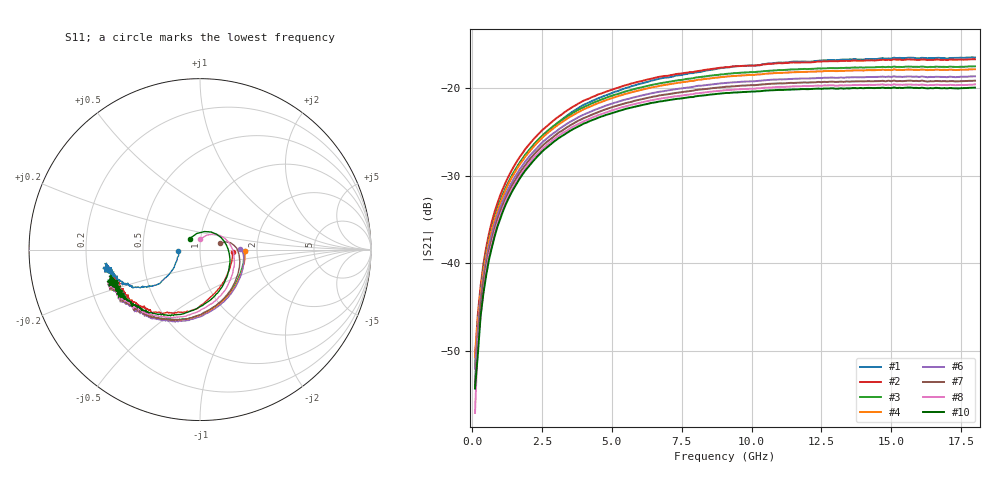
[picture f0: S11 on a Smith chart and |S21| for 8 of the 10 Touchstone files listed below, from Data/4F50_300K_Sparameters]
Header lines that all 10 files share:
#  HZ  S  DB  R  50.00
! Rohde & Schwarz ZVA50 4Ports - Version 4.11 - 1145.1110k52 SN: 100136
! Measurements: S11 S21 S12 S22
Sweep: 100 MHz to 18 GHz
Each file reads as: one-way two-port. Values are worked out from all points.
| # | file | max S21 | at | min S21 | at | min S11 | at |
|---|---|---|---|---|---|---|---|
| 1 | Vgs_-10mV_Vds_0p1V_300K.s2p | -16.46 dB | 17.9 GHz | -54.0 dB | 100 MHz | -18.0 dB | 400 MHz |
| 2 | Vgs_-10mV_Vds_0p2V_300K.s2p | -16.68 dB | 17.9 GHz | -50.6 dB | 100 MHz | -14.3 dB | 200 MHz |
| 3 | Vgs_-10mV_Vds_0p4V_300K.s2p | -17.49 dB | 18 GHz | -51.8 dB | 100 MHz | -11.7 dB | 200 MHz |
| 4 | Vgs_-10mV_Vds_0p5V_300K.s2p | -17.83 dB | 18 GHz | -50.7 dB | 100 MHz | -11.6 dB | 100 MHz |
| 5 | Vgs_-10mV_Vds_0p6V_300K.s2p | -18.22 dB | 18 GHz | -54.3 dB | 100 MHz | -11.7 dB | 100 MHz |
| 6 | Vgs_-10mV_Vds_0p7V_300K.s2p | -18.64 dB | 15.1 GHz | -52.1 dB | 100 MHz | -12.6 dB | 100 MHz |
| 7 | Vgs_-10mV_Vds_0p8V_300K.s2p | -19.12 dB | 15.1 GHz | -54.0 dB | 100 MHz | -18.0 dB | 100 MHz |
| 8 | Vgs_-10mV_Vds_0p9V_300K.s2p | -19.55 dB | 15.1 GHz | -57.1 dB | 100 MHz | -24.5 dB | 100 MHz |
| 9 | Vgs_-10mV_Vds_0p75V_300K.s2p | -18.87 dB | 15.1 GHz | -54.7 dB | 100 MHz | -14.5 dB | 100 MHz |
| 10 | Vgs_-10mV_Vds_1p0V_300K.s2p | -19.90 dB | 15.1 GHz | -54.3 dB | 100 MHz | -21.1 dB | 100 MHz |
